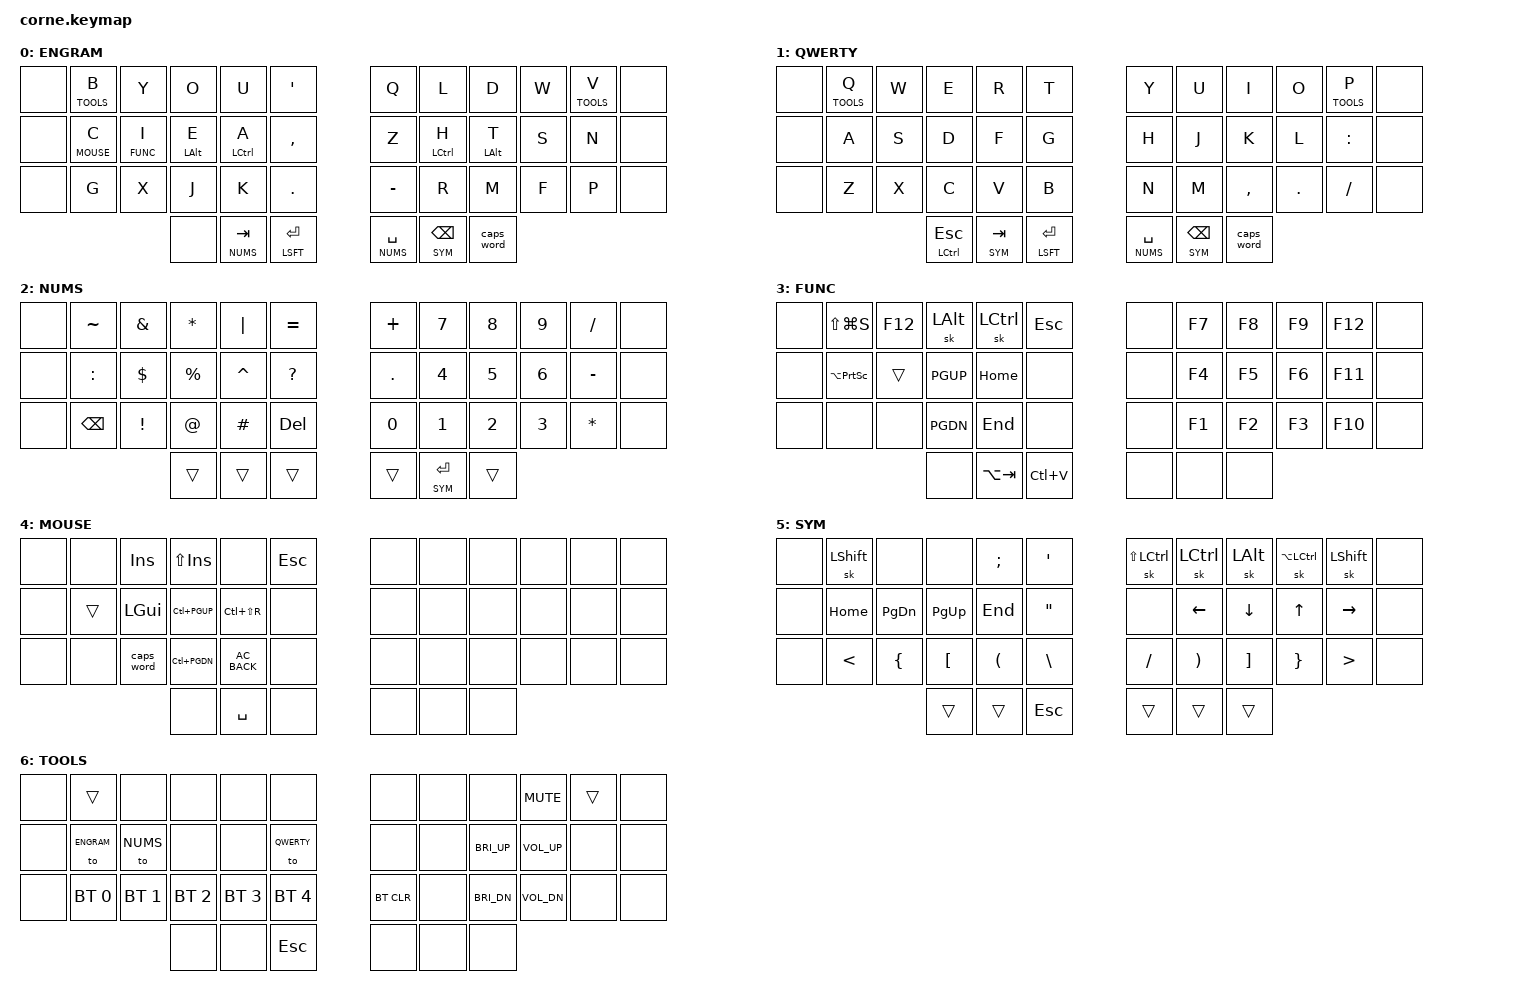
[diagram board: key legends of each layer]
/*
 * Copyright (c) 2020 The ZMK Contributors
 *
 * SPDX-License-Identifier: MIT
 */

#include <behaviors.dtsi>
#include <dt-bindings/zmk/keys.h>
#include <dt-bindings/zmk/bt.h>


/*
    behaviors {
        hm: homerow-mods {
            compatible = "zmk,behavior-hold-tap";
            label = "homehow-mods";
            #binding-cells = <2>;
            tapping-term-ms = <175>;
            flavor = "tap-preferred";
            quick-tap-ms = <125>;
            global-quick-tap;
            bindings = <&kp>, <&kp>; 
            }
    };
*/

&mt {
 tapping-term-ms = <175>;
 flavor = "tap-preferred";
};

&caps_word {
    continue-list = <UNDERSCORE MINUS>;
};


// Layer aliases
#define ENGRAM 0
#define QWERTY 1
#define NUMS 2
#define FUNC 3
#define MOUSE 4 
#define SYM 5
#define TOOLS 6




//ENGRAM
#define LC_A &mt LCTRL A
#define LC_H &mt LCTRL H
#define LA_E &mt LALT E
#define LA_T &mt LALT T
#define LAY_C &lt MOUSE C
#define LAY_I &lt FUNC I
#define LAY_B &lt TOOLS B
#define LAY_V &lt TOOLS V
#define SNIP LS(LG(S))


//QWERTY 
#define LAY_Q &lt TOOLS Q
#define LAY_P &lt TOOLS P
#define LC_ESC &mt LCTRL ESC




/ {
        keymap {
                compatible = "zmk,keymap";



                default_layer {  // layer 0 
                        label = "ENGRAM";
                        bindings = <
//   ╭─────────────┬─────────────┬─────────────┬─────────────┬─────────────╮   ╭─────────────┬─────────────┬─────────────┬─────────────┬─────────────╮
&none     LAY_B         &kp Y         &kp O         &kp U        &kp SQT            &kp Q         &kp L         &kp D         &kp W         LAY_V     &none
//   ├─────────────┼─────────────┼─────────────┼─────────────┼─────────────┤   ├─────────────┼─────────────┼─────────────┼─────────────┼─────────────┤
&none     LAY_C         LAY_I          LA_E         LC_A        &kp COMMA           &kp Z         LC_H           LA_T         &kp S         &kp N     &none
//   ├─────────────┼─────────────┼─────────────┼─────────────┼─────────────┤   ├─────────────┼─────────────┼─────────────┼─────────────┼─────────────┤
&none     &kp G         &kp X         &kp J         &kp K        &kp DOT          &kp MINUS       &kp R         &kp M         &kp F         &kp P     &none
//   ╰─────────────┴─────────────┴─────────────┼─────────────┼─────────────┤   ├─────────────┼─────────────┼─────────────┴─────────────┴─────────────╯
                                      &none     &lt NUMS TAB   &mt LSFT RET    &lt NUMS SPACE  &lt SYM BSPC   &caps_word 
//                               ╰─────────────┴─────────────┴─────────────╯   ╰─────────────┴─────────────┴─────────────╯
                        >;
                };



                qwerty_layer {   
                        label = "QWERTY";
                        bindings = <
//   ╭─────────────┬─────────────┬─────────────┬─────────────┬─────────────╮   ╭─────────────┬─────────────┬─────────────┬─────────────┬─────────────╮
&none     LAY_Q         &kp W         &kp E         &kp R        &kp T              &kp Y         &kp U         &kp I         &kp O         LAY_P     &none
//   ├─────────────┼─────────────┼─────────────┼─────────────┼─────────────┤   ├─────────────┼─────────────┼─────────────┼─────────────┼─────────────┤
&none     &kp A         &kp S         &kp D         &kp F        &kp G              &kp H         &kp J         &kp K         &kp L       &kp COLON   &none
//   ├─────────────┼─────────────┼─────────────┼─────────────┼─────────────┤   ├─────────────┼─────────────┼─────────────┼─────────────┼─────────────┤
&none     &kp Z         &kp X         &kp C         &kp V        &kp B              &kp N         &kp M       &kp COMMA      &kp DOT      &kp FSLH    &none
//   ╰─────────────┴─────────────┴─────────────┼─────────────┼─────────────┤   ├─────────────┼─────────────┼─────────────┴─────────────┴─────────────╯
                                      LC_ESC    &lt SYM TAB   &mt LSFT RET    &lt NUMS SPACE  &lt SYM BSPC   &caps_word 
//                               ╰─────────────┴─────────────┴─────────────╯   ╰─────────────┴─────────────┴─────────────╯
                        >;
                };



                num_layer {  
                        label = "NUMS";
                        bindings = <
//   ╭─────────────┬─────────────┬─────────────┬─────────────┬─────────────╮   ╭─────────────┬─────────────┬─────────────┬─────────────┬─────────────╮
&none   &kp TILDE     &kp AMPS      &kp STAR      &kp PIPE      &kp EQUAL          &kp PLUS       &kp N7        &kp N8       &kp N9       &kp FSLH    &none
//   ├─────────────┼─────────────┼─────────────┼─────────────┼─────────────┤   ├─────────────┼─────────────┼─────────────┼─────────────┼─────────────┤
&none   &kp COLON     &kp DLLR      &kp PRCNT     &kp CARET     &kp QMARK          &kp DOT        &kp N4        &kp N5       &kp N6       &kp MINUS   &none
//   ├─────────────┼─────────────┼─────────────┼─────────────┼─────────────┤   ├─────────────┼─────────────┼─────────────┼─────────────┼─────────────┤
&none   &kp BSPC      &kp EXCL       &kp AT       &kp HASH       &kp DEL           &kp N0         &kp N1        &kp N2       &kp N3       &kp STAR    &none
//   ╰─────────────┴─────────────┴─────────────┼─────────────┼─────────────┤   ├─────────────┼─────────────┼─────────────┴─────────────┴─────────────╯
                                      &trans        &trans        &trans           &trans      &lt SYM RET     &trans
//                               ╰─────────────┴─────────────┴─────────────╯   ╰─────────────┴─────────────┴─────────────╯
                        >;
                };



                func_layer {  
                        label = "FUNC";
                        bindings = <
//   ╭─────────────┬─────────────┬─────────────┬─────────────┬─────────────╮   ╭─────────────┬─────────────┬─────────────┬─────────────┬─────────────╮
&none   &kp SNIP       &kp F12       &sk LALT     &sk LCTL       &kp ESC            &none         &kp F7        &kp F8        &kp F9        &kp F12    &none
//   ├─────────────┼─────────────┼─────────────┼─────────────┼─────────────┤   ├─────────────┼─────────────┼─────────────┼─────────────┼─────────────┤
&none &kp LA(PSCRN)    &trans        &kp PGUP     &kp HOME        &none             &none         &kp F4        &kp F5        &kp F6        &kp F11    &none
//   ├─────────────┼─────────────┼─────────────┼─────────────┼─────────────┤   ├─────────────┼─────────────┼─────────────┼─────────────┼─────────────┤
&none     &none         &none        &kp PGDN     &kp END         &none             &none         &kp F1        &kp F2        &kp F3        &kp F10    &none
//   ╰─────────────┴─────────────┴─────────────┼─────────────┼─────────────┤   ├─────────────┼─────────────┼─────────────┴─────────────┴─────────────╯
                                      &none      &kp LA(TAB)     &kp LC(V)          &none         &none         &none       
//                               ╰─────────────┴─────────────┴─────────────╯   ╰─────────────┴─────────────┴─────────────╯
                        >;
                };



                mouse_layer {  
                        label = "MOUSE";
                        bindings = <
//   ╭─────────────┬─────────────┬─────────────┬─────────────┬─────────────╮   ╭─────────────┬─────────────┬─────────────┬─────────────┬─────────────╮
&none     &none        &kp INS     &kp LS(INS)      &none        &kp ESC            &none         &none         &none         &none         &none      &none
//   ├─────────────┼─────────────┼─────────────┼─────────────┼─────────────┤   ├─────────────┼─────────────┼─────────────┼─────────────┼─────────────┤
&none     &trans      &kp LGUI     &kp LC(PGUP) &kp LC(LS(R))     &none             &none         &none         &none         &none         &none      &none
//   ├─────────────┼─────────────┼─────────────┼─────────────┼─────────────┤   ├─────────────┼─────────────┼─────────────┼─────────────┼─────────────┤
&none     &none      &caps_word    &kp LC(PGDN) &kp C_AC_BACK     &none             &none         &none         &none         &none         &none      &none
//   ╰─────────────┴─────────────┴─────────────┼─────────────┼─────────────┤   ├─────────────┼─────────────┼─────────────┼─────────────┼─────────────╯
                                      &none       &kp SPACE       &none             &none         &none         &none       
//                               ╰─────────────┴─────────────┴─────────────╯   ╰─────────────┴─────────────┴─────────────╯
                        >;
                };



                sym_layer {  
                        label = "SYM";
                        bindings = <
//   ╭─────────────┬─────────────┬─────────────┬─────────────┬─────────────╮   ╭─────────────┬─────────────┬─────────────┬─────────────┬─────────────╮
&none   &sk LSHIFT      &none       &none         &kp SEMI      &kp QUOT        &sk LS(LCTRL)    &sk LCTRL    &sk LALT    &sk LA(LCTRL)   &sk LSHIFT   &none
//   ├─────────────┼─────────────┼─────────────┼─────────────┼─────────────┤   ├─────────────┼─────────────┼─────────────┼─────────────┼─────────────┤
&none   &kp HOME      &kp PG_DN     &kp PG_UP      &kp END      &kp DQT             &none       &kp LEFT     &kp DOWN       &kp UP       &kp RIGHT    &none
//   ├─────────────┼─────────────┼─────────────┼─────────────┼─────────────┤   ├─────────────┼─────────────┼─────────────┼─────────────┼─────────────┤
&none    &kp LT        &kp LBRC     &kp LBKT       &kp LPRN      &kp BSLH          &kp FSLH      &kp RPRN      &kp RBKT     &kp RBRC      &kp GT       &none
//   ╰─────────────┴─────────────┴─────────────┼─────────────┼─────────────┤   ├─────────────┼─────────────┼─────────────┼─────────────┼─────────────╯
                                     &trans        &trans        &kp ESC            &trans        &trans        &trans       
//                               ╰─────────────┴─────────────┴─────────────╯   ╰─────────────┴─────────────┴─────────────╯
                        >;
                };



                tools_layer {  
                        label = "TOOLS";
                        bindings = <
//   ╭─────────────┬─────────────┬─────────────┬─────────────┬─────────────╮   ╭─────────────┬─────────────┬─────────────┬─────────────┬─────────────╮
&none   &trans          &none       &none          &none         &none              &none         &none         &none      &kp C_MUTE      &trans     &none
//   ├─────────────┼─────────────┼─────────────┼─────────────┼─────────────┤   ├─────────────┼─────────────┼─────────────┼─────────────┼─────────────┤
&none  &to ENGRAM     &to NUMS      &none          &none       &to QWERTY           &none         &none      &kp C_BRI_UP  &kp C_VOL_UP     &none     &none
//   ├─────────────┼─────────────┼─────────────┼─────────────┼─────────────┤   ├─────────────┼─────────────┼─────────────┼─────────────┼─────────────┤
&none  &bt BT_SEL 0  &bt BT_SEL 1  &bt BT_SEL 2  &bt BT_SEL 3  &bt BT_SEL 4      &bt BT_CLR       &none      &kp C_BRI_DN  &kp C_VOL_DN     &none     &none
//   ╰─────────────┴─────────────┴─────────────┼─────────────┼─────────────┤   ├─────────────┼─────────────┼─────────────┼─────────────┼─────────────╯
                                      &none         &none        &kp ESC             &none        &none         &none       
//                               ╰─────────────┴─────────────┴─────────────╯   ╰─────────────┴─────────────┴─────────────╯
                        >;
                };





/****** Original layers 

                lower_layer {  // layer 2
// -----------------------------------------------------------------------------------------
// | NONE |  1  |  2  |  3  |  4  |  5  |   |  6  |  7  |  8  |  9  |  0  | NONE |
// | NONE | BT1 | BT2 | BT3 | BT4 | BT5 |   | LFT | DWN |  UP | RGT |     | NONE |
// | NONE |     |     |     |     |     |   |     |     |     |     |     | NONE |
//                    |     |     | SPC |   | ENT |     | ALT |
                        bindings = <
   &none &kp N1       &kp N2       &kp N3       &kp N4       &kp N5         &kp N6   &kp N7   &kp N8 &kp N9    &kp N0 &none
   &none &bt BT_SEL 0 &bt BT_SEL 1 &bt BT_SEL 2 &bt BT_SEL 3 &bt BT_SEL 4   &kp LEFT &kp DOWN &kp UP &kp RIGHT &trans &none
   &none &trans       &trans       &trans       &trans       &trans         &trans   &trans   &trans &trans    &trans &none
                          	        &trans     &trans       &kp SPACE      &kp RET  &trans   &kp RALT
                        >;
                };

                raise_layer {  // layer 3
// -----------------------------------------------------------------------------------------
// | NONE |  !  |  @  |  #  |  $  |  %  |   |  ^  |  &  |  *  |  (  |  )  | NONE |
// | NONE |     |     |     |     |     |   |  -  |  =  |  [  |  ]  |  \  | NONE |
// | NONE |     |     |     |     |     |   |  _  |  +  |  {  |  }  | "|" | NONE |
//                    | GUI |     | SPC |   | ENT |     | ALT |
                        bindings = <
   &none &kp EXCL &kp AT &kp HASH &kp DLLR &kp PRCNT   &kp CARET &kp AMPS  &kp KP_MULTIPLY &kp LPAR &kp RPAR &none
   &none &trans   &trans &trans   &trans   &trans      &kp MINUS &kp EQUAL &kp LBKT        &kp RBKT &kp BSLH &none
   &none &trans   &trans &trans   &trans   &trans      &kp UNDER &kp PLUS  &kp LBRC        &kp RBRC &kp PIPE &none
                    	     &kp LGUI &trans   &kp SPACE   &kp RET   &trans    &kp RALT
                        >;
                };
Original layers ******/

        }; // ENDEND keymap 
};
